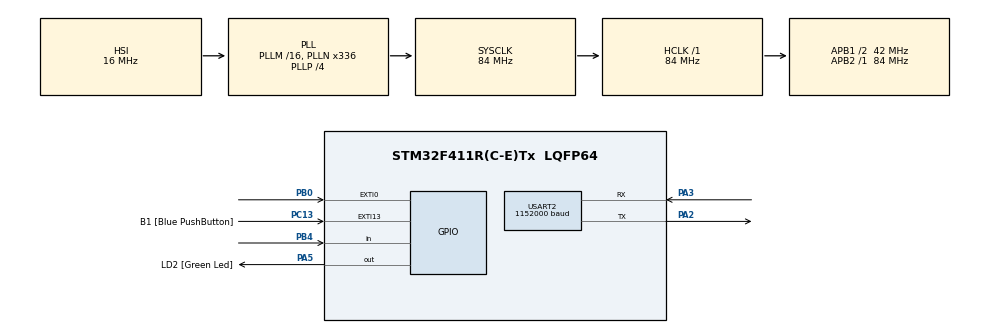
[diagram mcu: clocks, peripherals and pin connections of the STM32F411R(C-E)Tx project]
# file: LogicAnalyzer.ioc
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Dma.Request0=USART2_TX
Dma.USART2_TX.0.Direction=DMA_MEMORY_TO_PERIPH
Dma.USART2_TX.0.FIFOMode=DMA_FIFOMODE_DISABLE
Dma.USART2_TX.0.Instance=DMA1_Stream6
Dma.USART2_TX.0.MemDataAlignment=DMA_MDATAALIGN_BYTE
Dma.USART2_TX.0.MemInc=DMA_MINC_ENABLE
Dma.USART2_TX.0.Mode=DMA_NORMAL
Dma.USART2_TX.0.PeriphDataAlignment=DMA_PDATAALIGN_BYTE
Dma.USART2_TX.0.PeriphInc=DMA_PINC_DISABLE
Dma.USART2_TX.0.Priority=DMA_PRIORITY_LOW
Mcu.Family=STM32F4
Mcu.Name=STM32F411R(C-E)Tx
Mcu.Package=LQFP64
NVIC.DMA1_Stream6_IRQn=true\:0\:0\:false\:false\:true\:true\:true\:true
NVIC.EXTI0_IRQn=true\:0\:0\:false\:false\:true\:true\:true\:true
NVIC.PriorityGroup=NVIC_PRIORITYGROUP_0
NVIC.USART2_IRQn=true\:0\:0\:true\:false\:true\:true\:true\:true
PA13.GPIO_Label=TMS
PA13.Mode=Serial_Wire
PA13.Signal=SYS_JTMS-SWDIO
PA14.GPIO_Label=TCK
PA14.Mode=Serial_Wire
PA14.Signal=SYS_JTCK-SWCLK
PA2.GPIO_ModeDefaultPP=GPIO_MODE_AF_PP
PA2.GPIO_PuPd=GPIO_NOPULL
PA2.GPIO_Speed=GPIO_SPEED_FREQ_VERY_HIGH
PA2.Mode=Asynchronous
PA2.Signal=USART2_TX
PA3.GPIO_ModeDefaultPP=GPIO_MODE_AF_PP
PA3.GPIO_PuPd=GPIO_NOPULL
PA3.GPIO_Speed=GPIO_SPEED_FREQ_VERY_HIGH
PA3.Mode=Asynchronous
PA3.Signal=USART2_RX
PA5.GPIO_Label=LD2 [Green Led]
PA5.Signal=GPIO_Output
PB0.GPIO_ModeDefaultEXTI=GPIO_MODE_IT_RISING_FALLING
PB0.GPIO_PuPd=GPIO_PULLUP
PB0.Signal=GPXTI0
PB3.GPIO_Label=SWO
PB3.Signal=SYS_JTDO-SWO
PB4.GPIO_PuPd=GPIO_PULLUP
PB4.Signal=GPIO_Input
PC13-ANTI_TAMP.GPIO_Label=B1 [Blue PushButton]
PC13-ANTI_TAMP.GPIO_ModeDefaultEXTI=GPIO_MODE_IT_FALLING
PC13-ANTI_TAMP.Signal=GPXTI13
PC14-OSC32_IN.Mode=LSE-External-Oscillator
PC14-OSC32_IN.Signal=RCC_OSC32_IN
PC15-OSC32_OUT.Mode=LSE-External-Oscillator
PC15-OSC32_OUT.Signal=RCC_OSC32_OUT
PH0\ -\ OSC_IN.Mode=HSE-External-Clock-Source
PH0\ -\ OSC_IN.Signal=RCC_OSC_IN
PH1\ -\ OSC_OUT.Mode=HSE-External-Clock-Source
PH1\ -\ OSC_OUT.Signal=RCC_OSC_OUT
ProjectManager.HeapSize=0x200
ProjectManager.StackSize=0x400
ProjectManager.TargetToolchain=STM32CubeIDE
RCC.48MHZClocksFreq_Value=84000000
RCC.AHBFreq_Value=84000000
RCC.APB1CLKDivider=RCC_HCLK_DIV2
RCC.APB1Freq_Value=42000000
RCC.APB1TimFreq_Value=84000000
RCC.APB2Freq_Value=84000000
RCC.APB2TimFreq_Value=84000000
RCC.CortexFreq_Value=84000000
RCC.FLatency-AdvancedSettings=FLASH_LATENCY_2
RCC.HCLKFreq_Value=84000000
RCC.HSE_VALUE=8000000
RCC.HSI_VALUE=16000000
RCC.PLLN=336
RCC.PLLP=RCC_PLLP_DIV4
RCC.SYSCLKFreq_VALUE=84000000
RCC.SYSCLKSource=RCC_SYSCLKSOURCE_PLLCLK
RCC.VCOOutputFreq_Value=336000000
TIM2.Period=4294967295
TIM2.Prescaler=8
USART2.BaudRate=1152000
USART2.VirtualMode=VM_ASYNC
VP_TIM2_VS_ClockSourceINT.Mode=Internal
VP_TIM2_VS_ClockSourceITR.Mode=TriggerSource_ITR0
board=NUCLEO-F411RE

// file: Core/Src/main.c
/* USER CODE BEGIN Header */
/**
  ******************************************************************************
  * @file           : main.c
  * @brief          : Main program body
  ******************************************************************************
  * @attention
  *
  * Copyright (c) 2025 STMicroelectronics.
  * All rights reserved.
  *
  * This software is licensed under terms that can be found in the LICENSE file
  * in the root directory of this software component.
  * If no LICENSE file comes with this software, it is provided AS-IS.
  *
  ******************************************************************************
  */
/* USER CODE END Header */
#include "main.h"

TIM_HandleTypeDef htim2;

UART_HandleTypeDef huart2;
DMA_HandleTypeDef hdma_usart2_tx;

void SystemClock_Config(void);
static void MX_GPIO_Init(void);
static void MX_DMA_Init(void);
static void MX_USART2_UART_Init(void);
static void MX_TIM2_Init(void);

/* USER CODE BEGIN 0 */

//#define BUFFER_SIZE 35000
//char tx_buffer[BUFFER_SIZE];
//volatile uint8_t dma_ready = 1;
//
//uint8_t packed_buffer[BUFFER_SIZE / 8];
//uint16_t byte_index = 0;
//uint8_t bit_pos = 0;
//
//void HAL_TIM_PeriodElapsedCallback(TIM_HandleTypeDef *htim) {
//    if (htim->Instance == TIM2 && dma_ready) {
//        if (HAL_GPIO_ReadPin(GPIOB, GPIO_PIN_0)) {
//            packed_buffer[byte_index] |= (1 << bit_pos);
//        } else {
//            packed_buffer[byte_index] &= ~(1 << bit_pos);
//        }
//
//        bit_pos++;
//        if (bit_pos == 8) {
//            bit_pos = 0;
//            byte_index++;
//
//            if (byte_index >= (BUFFER_SIZE / 8)) {
//                dma_ready = 0;
//                HAL_UART_Transmit_DMA(&huart2, (uint8_t*)packed_buffer, BUFFER_SIZE / 8);
//                byte_index = 0;
//            }
//        }
//    }
//}

#define BUFFER_SIZE 512
#define FRAME_IDLE_THRESHOLD 10000  // adjust unit to match timer tick

typedef struct {
    uint8_t level;
    uint32_t timestamp;
} EdgeRecord;

EdgeRecord pulse_buffer[BUFFER_SIZE];

volatile uint16_t pulse_index = 0;
volatile uint8_t dma_busy = 0;

uint32_t start_time = 0;
uint32_t last_timestamp = 0;
uint8_t timer_started = 0;

void HAL_GPIO_EXTI_Callback(uint16_t GPIO_Pin)
{
    if (GPIO_Pin == GPIO_PIN_0 && !dma_busy)
    {
        uint32_t now;

        // Start timer at first edge
        if (!timer_started)
        {
            __HAL_TIM_SET_COUNTER(&htim2, 0);
            HAL_TIM_Base_Start(&htim2);
            start_time = 0;
            last_timestamp = 0;
            timer_started = 1;
        }

        now = __HAL_TIM_GET_COUNTER(&htim2);

        uint32_t timestamp = now;
        uint8_t level = HAL_GPIO_ReadPin(GPIOB, GPIO_PIN_0);  // current level
        uint32_t delta = (timestamp >= last_timestamp) ? (timestamp - last_timestamp)
                                                       : (0xFFFFFFFF - last_timestamp + timestamp + 1);
        last_timestamp = timestamp;

        pulse_buffer[pulse_index].level = level;
        pulse_buffer[pulse_index].timestamp = timestamp;
        pulse_index++;

        if ((delta >= FRAME_IDLE_THRESHOLD) || (pulse_index >= BUFFER_SIZE))
        {
            HAL_TIM_Base_Stop(&htim2);
            timer_started = 0;
            dma_busy = 1;
            HAL_UART_Transmit_DMA(&huart2, (uint8_t*)pulse_buffer, sizeof(EdgeRecord) * pulse_index);
            pulse_index = 0;
        }
    }
}

/* USER CODE END 0 */

int main(void)
{

  /* MCU Configuration--------------------------------------------------------*/

  /* Reset of all peripherals, Initializes the Flash interface and the Systick. */
  HAL_Init();

  /* Configure the system clock */
  SystemClock_Config();

  /* Initialize all configured peripherals */
  MX_GPIO_Init();
  MX_DMA_Init();
  MX_USART2_UART_Init();
  MX_TIM2_Init();

  /* Infinite loop */
  /* USER CODE BEGIN WHILE */
  while (1)
  {
	  if (timer_started && !dma_busy && pulse_index > 0)
	  {
		  uint32_t now = __HAL_TIM_GET_COUNTER(&htim2);
		  uint32_t idle = (now >= last_timestamp)
			  ? (now - last_timestamp)
			  : (0xFFFFFFFF - last_timestamp + now + 1);

		  if (idle >= FRAME_IDLE_THRESHOLD)
		  {
			  HAL_TIM_Base_Stop(&htim2);
			  timer_started = 0;
			  dma_busy = 1;
			  HAL_UART_Transmit_DMA(&huart2, (uint8_t*)pulse_buffer, sizeof(EdgeRecord) * pulse_index);
			  pulse_index = 0;
		  }
	  }

    /* USER CODE END WHILE */

  }
}

void SystemClock_Config(void)
{
  RCC_OscInitTypeDef RCC_OscInitStruct = {0};
  RCC_ClkInitTypeDef RCC_ClkInitStruct = {0};

  /** Configure the main internal regulator output voltage
  */
  __HAL_RCC_PWR_CLK_ENABLE();
  __HAL_PWR_VOLTAGESCALING_CONFIG(PWR_REGULATOR_VOLTAGE_SCALE1);

  /** Initializes the RCC Oscillators according to the specified parameters
  * in the RCC_OscInitTypeDef structure.
  */
  RCC_OscInitStruct.OscillatorType = RCC_OSCILLATORTYPE_HSI;
  RCC_OscInitStruct.HSIState = RCC_HSI_ON;
  RCC_OscInitStruct.HSICalibrationValue = RCC_HSICALIBRATION_DEFAULT;
  RCC_OscInitStruct.PLL.PLLState = RCC_PLL_ON;
  RCC_OscInitStruct.PLL.PLLSource = RCC_PLLSOURCE_HSI;
  RCC_OscInitStruct.PLL.PLLM = 16;
  RCC_OscInitStruct.PLL.PLLN = 336;
  RCC_OscInitStruct.PLL.PLLP = RCC_PLLP_DIV4;
  RCC_OscInitStruct.PLL.PLLQ = 4;
  if (HAL_RCC_OscConfig(&RCC_OscInitStruct) != HAL_OK)
  {
    Error_Handler();
  }

  /** Initializes the CPU, AHB and APB buses clocks
  */
  RCC_ClkInitStruct.ClockType = RCC_CLOCKTYPE_HCLK|RCC_CLOCKTYPE_SYSCLK
                              |RCC_CLOCKTYPE_PCLK1|RCC_CLOCKTYPE_PCLK2;
  RCC_ClkInitStruct.SYSCLKSource = RCC_SYSCLKSOURCE_PLLCLK;
  RCC_ClkInitStruct.AHBCLKDivider = RCC_SYSCLK_DIV1;
  RCC_ClkInitStruct.APB1CLKDivider = RCC_HCLK_DIV2;
  RCC_ClkInitStruct.APB2CLKDivider = RCC_HCLK_DIV1;

  if (HAL_RCC_ClockConfig(&RCC_ClkInitStruct, FLASH_LATENCY_2) != HAL_OK)
  {
    Error_Handler();
  }
}

static void MX_TIM2_Init(void)
{

  TIM_ClockConfigTypeDef sClockSourceConfig = {0};
  TIM_SlaveConfigTypeDef sSlaveConfig = {0};
  TIM_MasterConfigTypeDef sMasterConfig = {0};

  htim2.Instance = TIM2;
  htim2.Init.Prescaler = 8;
  htim2.Init.CounterMode = TIM_COUNTERMODE_UP;
  htim2.Init.Period = 4294967295;
  htim2.Init.ClockDivision = TIM_CLOCKDIVISION_DIV1;
  htim2.Init.AutoReloadPreload = TIM_AUTORELOAD_PRELOAD_DISABLE;
  if (HAL_TIM_Base_Init(&htim2) != HAL_OK)
  {
    Error_Handler();
  }
  sClockSourceConfig.ClockSource = TIM_CLOCKSOURCE_INTERNAL;
  if (HAL_TIM_ConfigClockSource(&htim2, &sClockSourceConfig) != HAL_OK)
  {
    Error_Handler();
  }
  sSlaveConfig.SlaveMode = TIM_SLAVEMODE_DISABLE;
  sSlaveConfig.InputTrigger = TIM_TS_ITR0;
  if (HAL_TIM_SlaveConfigSynchro(&htim2, &sSlaveConfig) != HAL_OK)
  {
    Error_Handler();
  }
  sMasterConfig.MasterOutputTrigger = TIM_TRGO_RESET;
  sMasterConfig.MasterSlaveMode = TIM_MASTERSLAVEMODE_DISABLE;
  if (HAL_TIMEx_MasterConfigSynchronization(&htim2, &sMasterConfig) != HAL_OK)
  {
    Error_Handler();
  }

}

static void MX_USART2_UART_Init(void)
{

  huart2.Instance = USART2;
  huart2.Init.BaudRate = 1152000;
  huart2.Init.WordLength = UART_WORDLENGTH_8B;
  huart2.Init.StopBits = UART_STOPBITS_1;
  huart2.Init.Parity = UART_PARITY_NONE;
  huart2.Init.Mode = UART_MODE_TX_RX;
  huart2.Init.HwFlowCtl = UART_HWCONTROL_NONE;
  huart2.Init.OverSampling = UART_OVERSAMPLING_16;
  if (HAL_UART_Init(&huart2) != HAL_OK)
  {
    Error_Handler();
  }

}

static void MX_DMA_Init(void)
{

  /* DMA controller clock enable */
  __HAL_RCC_DMA1_CLK_ENABLE();

  /* DMA interrupt init */
  /* DMA1_Stream6_IRQn interrupt configuration */
  HAL_NVIC_SetPriority(DMA1_Stream6_IRQn, 0, 0);
  HAL_NVIC_EnableIRQ(DMA1_Stream6_IRQn);

}

static void MX_GPIO_Init(void)
{
  GPIO_InitTypeDef GPIO_InitStruct = {0};

  /* GPIO Ports Clock Enable */
  __HAL_RCC_GPIOC_CLK_ENABLE();
  __HAL_RCC_GPIOH_CLK_ENABLE();
  __HAL_RCC_GPIOA_CLK_ENABLE();
  __HAL_RCC_GPIOB_CLK_ENABLE();

  /*Configure GPIO pin Output Level */
  HAL_GPIO_WritePin(LD2_GPIO_Port, LD2_Pin, GPIO_PIN_RESET);

  /*Configure GPIO pin : B1_Pin */
  GPIO_InitStruct.Pin = B1_Pin;
  GPIO_InitStruct.Mode = GPIO_MODE_IT_FALLING;
  GPIO_InitStruct.Pull = GPIO_NOPULL;
  HAL_GPIO_Init(B1_GPIO_Port, &GPIO_InitStruct);

  /*Configure GPIO pin : LD2_Pin */
  GPIO_InitStruct.Pin = LD2_Pin;
  GPIO_InitStruct.Mode = GPIO_MODE_OUTPUT_PP;
  GPIO_InitStruct.Pull = GPIO_NOPULL;
  GPIO_InitStruct.Speed = GPIO_SPEED_FREQ_LOW;
  HAL_GPIO_Init(LD2_GPIO_Port, &GPIO_InitStruct);

  /*Configure GPIO pin : PB0 */
  GPIO_InitStruct.Pin = GPIO_PIN_0;
  GPIO_InitStruct.Mode = GPIO_MODE_IT_RISING_FALLING;
  GPIO_InitStruct.Pull = GPIO_PULLUP;
  HAL_GPIO_Init(GPIOB, &GPIO_InitStruct);

  /*Configure GPIO pin : PB4 */
  GPIO_InitStruct.Pin = GPIO_PIN_4;
  GPIO_InitStruct.Mode = GPIO_MODE_INPUT;
  GPIO_InitStruct.Pull = GPIO_PULLUP;
  HAL_GPIO_Init(GPIOB, &GPIO_InitStruct);

  /* EXTI interrupt init*/
  HAL_NVIC_SetPriority(EXTI0_IRQn, 0, 0);
  HAL_NVIC_EnableIRQ(EXTI0_IRQn);

}

/* USER CODE BEGIN 4 */
//void HAL_UART_TxCpltCallback(UART_HandleTypeDef *huart)
//{
//    if (huart->Instance == USART2)
//    {
//        dma_ready = 1;
//        memset(packed_buffer, 0, sizeof(packed_buffer));  // optional: clear buffer
//    }
//}

void HAL_UART_TxCpltCallback(UART_HandleTypeDef *huart)
{
    if (huart->Instance == USART2)
    {
        dma_busy = 0;
    }
}

/* USER CODE END 4 */

void Error_Handler(void)
{
  __disable_irq();
  while (1)
  {
  }
}
